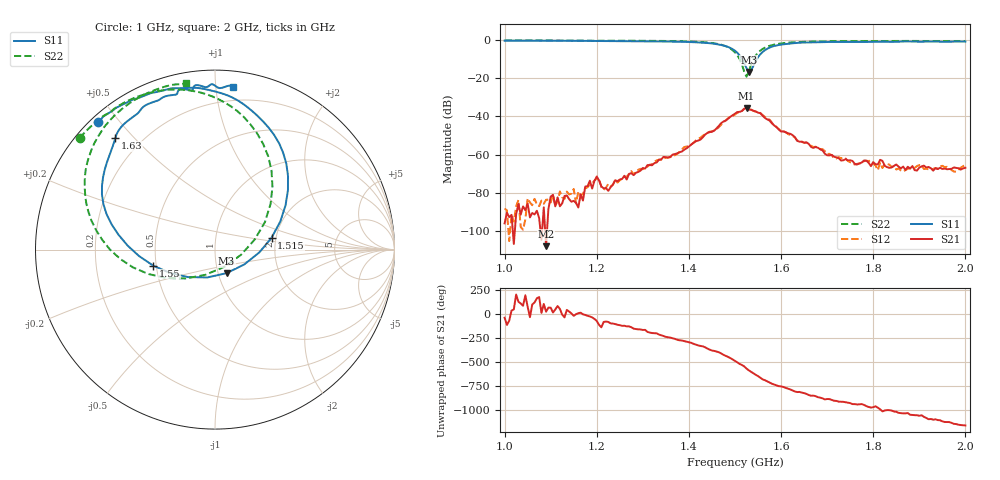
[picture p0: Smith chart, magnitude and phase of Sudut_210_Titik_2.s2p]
# Hz S RI R 50
! CMT, C1220, 16058040, 17.2.0/1
! Date: 14/08/2018 12:48:04
! Data: Format (Calibration Info)
! Freq  S11: Re/Im (F2)  S21: Re/Im (F2)  S12: Re/Im (F2)  S22: Re/Im (F2)
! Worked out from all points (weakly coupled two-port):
!   201 points, 1 GHz to 2 GHz, reference 50 ohm
!   highest |S21| = -35.60 dB at 1.525 GHz (marker M1); lowest = -108.1 dB at 1.09 GHz (marker M2)
!   lowest |S11| = -16.7 dB at 1.53 GHz (marker M3), VSWR 1.34, Z = 54.8 - j14.7 ohm
!   |S11| at or under -10 dB: 1.515 GHz to 1.547 GHz (32.08 MHz wide, 2.09 % of centre)
!   |S22| runs from -19.2 to -0.2 dB; largest |S21 - S12| = 0.00074
!   S11 on the Smith chart (normalised r, x): 1 GHz: 0.02, +0.44; 1.515 GHz: 1.89, +0.28; 1.55 GHz: 0.48, -0.10; 1.63 GHz: 0.11, +0.44; 2 GHz: 0.10, +1.11
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1e9  -0.652 0.7135  1.24e-05 -9.52e-06  3.66e-05 -1.13e-05  -0.7536 0.6216
1.09e9  -0.5643 0.7798  3.58e-06 1.67e-06  3.44e-05 5.53e-05  -0.6894 0.6883
1.17e9  -0.4819 0.8243  6.2e-05 -2.73e-06  7.73e-05 -5.11e-05  -0.6183 0.7468
1.2e9  -0.4397 0.8408  8.35e-05 -0.000252  3.29e-05 -0.00023  -0.585 0.76
1.215e9  -0.4242 0.8458  1.89e-05 -0.000128  4.78e-06 -0.000118  -0.578 0.7687
1.225e9  -0.409 0.8512  1.59e-05 -0.00011  5.43e-05 -0.00016  -0.5687 0.7791
1.335e9  -0.2194 0.8985  -0.000618 0.000393  -0.000598 0.000418  -0.4041 0.8616
1.45e9  0.1811 0.7932  0.00374 -0.00122  0.00379 -0.00145  0.0194 0.8379
1.5e9  0.4065 0.332  -0.00672 -0.00976  -0.00635 -0.00915  0.3202 0.3514
1.515e9  0.3152 0.0658  -0.0135 -0.00291  -0.0135 -0.00329  0.2216 0.0568
1.525e9  0.1624 -0.0832  -0.015 0.0072  -0.0151 0.00716  0.0526 -0.0963
1.53e9  0.0645 -0.1312  -0.0109 0.0105  -0.011 0.0105  -0.0546 -0.1407
1.55e9  -0.3441 -0.0895  0.00291 0.0122  0.00244 0.0123  -0.4562 -0.0995
1.58e9  -0.6216 0.2526  0.00658 -0.000282  0.00686 -0.000562  -0.7056 0.2116
1.63e9  -0.5558 0.6218  0.000316 -0.0028  0.000474 -0.00278  -0.6945 0.5389
1.67e9  -0.4472 0.746  -0.000874 -0.0012  -0.000919 -0.00128  -0.6276 0.6675
1.76e9  -0.2667 0.8565  -0.00047 0.00032  -0.000473 0.000269  -0.4864 0.8081
1.795e9  -0.2088 0.8756  -0.000172 0.000464  -0.00024 0.000644  -0.4357 0.8404
1.81e9  -0.1938 0.892  -0.000176 0.000522  -0.000105 0.000375  -0.4154 0.8527
1.835e9  -0.136 0.8872  5.23e-05 0.000444  0.000137 0.000524  -0.3814 0.8695
1.98e9  0.0736 0.9124  0.000216 -0.00039  0.000196 -0.000293  -0.1835 0.9212
2e9  0.1013 0.9064  0.000112 -0.000434  0.000105 -0.000528  -0.1596 0.9299
